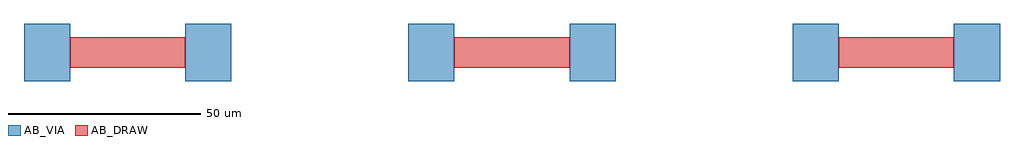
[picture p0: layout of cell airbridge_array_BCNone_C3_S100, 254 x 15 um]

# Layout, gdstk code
import gdstk
lib = gdstk.Library(unit=1e-6, precision=1e-09)
def R(c, l, rs):  # rectangles x0, y0, x1, y1
    for r in rs: c.add(gdstk.rectangle(r[:2], r[2:], *l))
AB_DRAW = (10, 0)
AB_VIA = (10, 1)

rectangle_gdsfactorypco_ = lib.new_cell('rectangle_gdsfactorypco_56f9a496')
R(rectangle_gdsfactorypco_, AB_DRAW, [(-15,-4,15,4)])

c_rectangle_gdsfactorypco_ = lib.new_cell('rectangle_gdsfactorypco_8e7b1f7b')
R(c_rectangle_gdsfactorypco_, AB_VIA, [(-6,-7.5,6,7.5)])

airbridge_bl30_bw8_pw15_ = lib.new_cell('airbridge_BL30_BW8_PW15_d54314af')
airbridge_bl30_bw8_pw15_.add(gdstk.Reference(rectangle_gdsfactorypco_, (0,0)))
airbridge_bl30_bw8_pw15_.add(gdstk.Reference(c_rectangle_gdsfactorypco_, (-21,0)))
airbridge_bl30_bw8_pw15_.add(gdstk.Reference(c_rectangle_gdsfactorypco_, (21,0)))

airbridge_array_bcnone_c = lib.new_cell('airbridge_array_BCNone_C3_S100')
airbridge_array_bcnone_c.add(gdstk.Reference(airbridge_bl30_bw8_pw15_, (0,0)))
airbridge_array_bcnone_c.add(gdstk.Reference(airbridge_bl30_bw8_pw15_, (100,0)))
airbridge_array_bcnone_c.add(gdstk.Reference(airbridge_bl30_bw8_pw15_, (200,0)))

lib.write_gds('airbridge_array_BCNone_C3_S100.gds')
